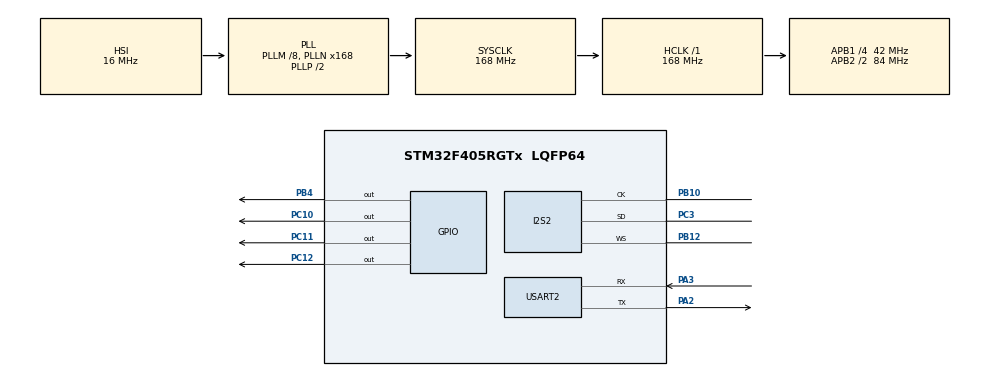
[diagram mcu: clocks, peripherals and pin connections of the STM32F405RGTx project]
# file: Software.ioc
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Dma.Request0=USART2_TX
Dma.Request1=SPI2_RX
Dma.SPI2_RX.1.Direction=DMA_PERIPH_TO_MEMORY
Dma.SPI2_RX.1.FIFOMode=DMA_FIFOMODE_DISABLE
Dma.SPI2_RX.1.Instance=DMA1_Stream3
Dma.SPI2_RX.1.MemDataAlignment=DMA_MDATAALIGN_HALFWORD
Dma.SPI2_RX.1.MemInc=DMA_MINC_ENABLE
Dma.SPI2_RX.1.Mode=DMA_NORMAL
Dma.SPI2_RX.1.PeriphDataAlignment=DMA_PDATAALIGN_HALFWORD
Dma.SPI2_RX.1.PeriphInc=DMA_PINC_DISABLE
Dma.SPI2_RX.1.Priority=DMA_PRIORITY_LOW
Dma.USART2_TX.0.Direction=DMA_MEMORY_TO_PERIPH
Dma.USART2_TX.0.FIFOMode=DMA_FIFOMODE_DISABLE
Dma.USART2_TX.0.Instance=DMA1_Stream6
Dma.USART2_TX.0.MemDataAlignment=DMA_MDATAALIGN_BYTE
Dma.USART2_TX.0.MemInc=DMA_MINC_ENABLE
Dma.USART2_TX.0.Mode=DMA_NORMAL
Dma.USART2_TX.0.PeriphDataAlignment=DMA_PDATAALIGN_BYTE
Dma.USART2_TX.0.PeriphInc=DMA_PINC_DISABLE
Dma.USART2_TX.0.Priority=DMA_PRIORITY_LOW
I2S2.AudioFreq=I2S_AUDIOFREQ_48K
I2S2.DataFormat=I2S_DATAFORMAT_16B_EXTENDED
I2S2.ErrorAudioFreq=-0.79 %
I2S2.FullDuplexMode=I2S_FULLDUPLEXMODE_DISABLE
I2S2.Instance=SPI$Index
I2S2.Mode=I2S_MODE_MASTER_RX
I2S2.RealAudioFreq=47.619 KHz
I2S2.VirtualMode=I2S_MODE_MASTER
Mcu.Family=STM32F4
Mcu.Name=STM32F405RGTx
Mcu.Package=LQFP64
NVIC.DMA1_Stream3_IRQn=true\:0\:0\:false\:false\:true\:false\:true\:true
NVIC.DMA1_Stream6_IRQn=true\:0\:0\:false\:false\:true\:false\:true\:true
NVIC.PriorityGroup=NVIC_PRIORITYGROUP_4
NVIC.USART2_IRQn=true\:0\:0\:false\:false\:true\:false\:true\:true
PA2.Mode=Asynchronous
PA2.Signal=USART2_TX
PA3.Mode=Asynchronous
PA3.Signal=USART2_RX
PB10.Mode=Half_Duplex_Master
PB10.Signal=I2S2_CK
PB12.Mode=Half_Duplex_Master
PB12.Signal=I2S2_WS
PB4.Signal=GPIO_Output
PC10.Signal=GPIO_Output
PC11.Signal=GPIO_Output
PC12.Signal=GPIO_Output
PC3.Mode=Half_Duplex_Master
PC3.Signal=I2S2_SD
ProjectManager.HeapSize=0x200
ProjectManager.StackSize=0x400
ProjectManager.TargetToolchain=Makefile
RCC.48MHZClocksFreq_Value=84000000
RCC.AHBFreq_Value=168000000
RCC.APB1CLKDivider=RCC_HCLK_DIV4
RCC.APB1Freq_Value=42000000
RCC.APB1TimFreq_Value=84000000
RCC.APB2CLKDivider=RCC_HCLK_DIV2
RCC.APB2Freq_Value=84000000
RCC.APB2TimFreq_Value=168000000
RCC.CortexFreq_Value=168000000
RCC.HCLKFreq_Value=168000000
RCC.HSE_VALUE=25000000
RCC.HSI_VALUE=16000000
RCC.LSE_VALUE=32768
RCC.PLLM=8
RCC.PLLN=168
RCC.SYSCLKFreq_VALUE=168000000
RCC.SYSCLKSource=RCC_SYSCLKSOURCE_PLLCLK
RCC.VCOOutputFreq_Value=336000000
STMicroelectronics.X-CUBE-ALGOBUILD.1.4.0.LibraryCcDSPOoLibraryJjDSPOoLibrary=true
USART2.VirtualMode=VM_ASYNC
VP_STMicroelectronics.X-CUBE-ALGOBUILD_VS_DSPOoLibraryJjLibrary_1.4.0_1.4.0.Mode=DSPOoLibraryJjLibrary
board=custom

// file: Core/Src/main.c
/* USER CODE BEGIN Header */
/**
  ******************************************************************************
  * @file           : main.c
  * @brief          : Main program body
  ******************************************************************************
  * @attention
  *
  * Copyright (c) 2025 STMicroelectronics.
  * All rights reserved.
  *
  * This software is licensed under terms that can be found in the LICENSE file
  * in the root directory of this software component.
  * If no LICENSE file comes with this software, it is provided AS-IS.
  *
  ******************************************************************************
  */
/* USER CODE END Header */
#include "main.h"
// #include "stm32f407xx.h"
#include "extitimer.h"

/* USER CODE BEGIN Includes */
#include "stdio.h"
#include "arm_math.h"
#include <errno.h>
#include <sys/unistd.h>
#include <string.h>
/* USER CODE END Includes */

/* USER CODE BEGIN PTD */
typedef struct {
  float32_t magnitude;
  uint16_t bin_index;
} FrequencyPeak;
/* USER CODE END PTD */

/* USER CODE BEGIN PD */
#define TAG_TOP_TEN_FREQ
//#define TAG_FFT_ALL
#define BATTERY_CONNECTED
#define MIC_CONNECTED
/* USER CODE END PD */

/* USER CODE BEGIN PM */
#define SAMPLES_TO_GET 5.0f
void nano_wait(int t); // FROM ECE362 LABS - might need to tweak
uint16_t charge_buffer;
state_t state;
char data_c[2];
char output_batt[20];
uint8_t sample_count = 0;
float32_t prev_sample = 0.0f;
float32_t sum_samps = 0.0f;
float32_t avrg_freq;
uint8_t ready_to_process = 0;
const float32_t standard_tuning[6] =
{
    82.41,  // E
    110,    // A
    146.83, // D
    196,    // G
    246.94, // B
    329.63  // E
};

const float32_t tuning_ranges[6] =
{
    20,
    20,
    25,
    25,
    40,
    40
};

float32_t freq_diff;

float32_t interpolated_freq;
float32_t interpolated_mag;

u8 tuning_i = 0;
float32_t frequency;
/* USER CODE END PM */

I2S_HandleTypeDef hi2s2;
DMA_HandleTypeDef hdma_spi2_rx;

UART_HandleTypeDef huart2;
DMA_HandleTypeDef hdma_usart2_tx;

/* USER CODE BEGIN PV */
// Generated by FIRfilterCoeff.py
static const float32_t h[] = {
  0.000000000000000000,
  0.000000007212970196,
  0.000000055131376202,
  0.000000171543973319,
  0.000000360266179641,
  0.000000594874965645,
  0.000000818935100534,
  0.000000953269382216,
  0.000000909594621891,
  0.000000608652866177,
  0.000000000000000000,
  -0.000000919966594950,
  -0.000002095239515927,
  -0.000003405721984287,
  -0.000004673080368682,
  -0.000005677570045858,
  -0.000006184832442803,
  -0.000005979993496011,
  -0.000004904940557073,
  -0.000002893643362343,
  0.000000000000000000,
  0.000003586954564869,
  0.000007544518199528,
  0.000011436700949649,
  0.000014753424308920,
  0.000016965877505996,
  0.000017592859001211,
  0.000016270823733091,
  0.000012818966330517,
  0.000007290250698265,
  0.000000000000000000,
  -0.000008474487081748,
  -0.000017326945232164,
  -0.000025587771714763,
  -0.000032218218776113,
  -0.000036225105432006,
  -0.000036784580473335,
  -0.000033361080813736,
  -0.000025806670682806,
  -0.000014426673819225,
  0.000000000000000000,
  0.000016253307473552,
  0.000032759348072180,
  0.000047728294350815,
  0.000059332463244602,
  0.000065908274776839,
  0.000066161433362343,
  0.000059352221390768,
  0.000045437779669613,
  0.000025150889032437,
  0.000000000000000000,
  -0.000027817282490325,
  -0.000055586016677138,
  -0.000080320078295768,
  -0.000099062317925644,
  -0.000109210464970957,
  -0.000108835063599250,
  -0.000096953558356075,
  -0.000073726294863681,
  -0.000040545803575662,
  0.000000000000000000,
  0.000044297862088247,
  0.000088005618738364,
  0.000126453688554378,
  0.000155117004147216,
  0.000170112150069698,
  0.000168667957176161,
  0.000149516417017767,
  0.000113155084000910,
  0.000061942104130263,
  0.000000000000000000,
  -0.000067076894279026,
  -0.000132695671015413,
  -0.000189882385686299,
  -0.000231989162332351,
  -0.000253422288578318,
  -0.000250315215958849,
  -0.000221070501681524,
  -0.000166703023080355,
  -0.000090932969583583,
  0.000000000000000002,
  0.000097802431277576,
  0.000192843853678290,
  0.000275067150224225,
  0.000335010294897236,
  0.000364839539779732,
  0.000359285831423614,
  0.000316378861817415,
  0.000237887184878823,
  0.000129397538541096,
  -0.000000000000000001,
  -0.000138415101386375,
  -0.000272201267600355,
  -0.000387254569662938,
  -0.000470448117348628,
  -0.000511061152705928,
  -0.000502052891807850,
  -0.000441037686168213,
  -0.000330840034755072,
  -0.000179544124270732,
  -0.000000000000000001,
  0.000191197111310521,
  0.000375181679884137,
  0.000532622270421465,
  0.000645688551479070,
  0.000699986632638702,
  0.000686259697749221,
  0.000601662834962097,
  0.000450453578221149,
  0.000243990800850278,
  -0.000000000000000001,
  -0.000258863304937024,
  -0.000507045571120453,
  -0.000718548030718960,
  -0.000869571730898905,
  -0.000941092889797799,
  -0.000921098533359573,
  -0.000806231821842976,
  -0.000602643025664755,
  -0.000325912472320292,
  0.000000000000000005,
  0.000344726630027055,
  0.000674233901600613,
  0.000954096882085209,
  0.001152999094859438,
  0.001246110935454701,
  0.001217992860294628,
  0.001064698903326004,
  0.000794820441674298,
  0.000429304787869723,
  -0.000000000000000002,
  -0.000452994581337506,
  -0.000884965733328157,
  -0.001250892939594858,
  -0.001510019745070193,
  -0.001630236735517778,
  -0.001591818175668851,
  -0.001390096195848735,
  -0.001036743084526973,
  -0.000559457156823075,
  0.000000000000000002,
  0.000589301542319519,
  0.001150312757800108,
  0.001624689213087111,
  0.001959789720876354,
  0.002114318999981656,
  0.002063112326118575,
  0.001800531613135314,
  0.001342056394597545,
  0.000723815326136190,
  -0.000000000000000002,
  -0.000761685197981068,
  -0.001486176499962443,
  -0.002098266020155372,
  -0.002530202581153647,
  -0.002728928710850529,
  -0.002662203518427453,
  -0.002322936080422007,
  -0.001731200837943418,
  -0.000933613992632222,
  0.000000000000000003,
  0.000982453153805861,
  0.001917088352576017,
  0.002707032545101008,
  0.003264946690258434,
  0.003522317420895075,
  0.003437333674165345,
  0.003000485639801629,
  0.002237208486919608,
  0.001207155299613224,
  -0.000000000000000003,
  -0.001271987190106345,
  -0.002484014837181999,
  -0.003510625699427079,
  -0.004238241037973694,
  -0.004577178800465129,
  -0.004471921470477553,
  -0.003908521035305639,
  -0.002918255751523590,
  -0.001576979286270625,
  0.000000000000000003,
  0.001667239028090979,
  0.003261980916958090,
  0.004619398068116593,
  0.005588884876617332,
  0.006049853241498540,
  0.005925451898612821,
  0.005192750476131914,
  0.003888196699748424,
  0.002107551518475262,
  -0.000000000000000003,
  -0.002243317149682280,
  -0.004405555526599354,
  -0.006263903857625761,
  -0.007611103046085754,
  -0.008276782191560651,
  -0.008146556730446801,
  -0.007176933645328500,
  -0.005404357235659036,
  -0.002947187833007922,
  0.000000000000000004,
  0.003179732946637637,
  0.006291793906866203,
  0.009018771864230179,
  0.011054991640217888,
  0.012136394457447883,
  0.012068726678476440,
  0.010751408594882765,
  0.008194705559681586,
  0.004528296880536618,
  -0.000000000000000004,
  -0.005035793231986729,
  -0.010139540705696639,
  -0.014816539248567458,
  -0.018553394632726941,
  -0.020858249767653356,
  -0.021301620769129285,
  -0.019554516962313487,
  -0.015420623526151691,
  -0.008859703100028354,
  0.000000000000000004,
  0.010861739710608147,
  0.023273053069527715,
  0.036650747278610257,
  0.050316490520345286,
  0.063540524245060986,
  0.075590318641641716,
  0.085780545680485903,
  0.093520585884290894,
  0.098355932108839944,
  0.100000296625720797,
  0.098355932108839944,
  0.093520585884290894,
  0.085780545680485903,
  0.075590318641641716,
  0.063540524245060986,
  0.050316490520345286,
  0.036650747278610257,
  0.023273053069527715,
  0.010861739710608147,
  0.000000000000000004,
  -0.008859703100028354,
  -0.015420623526151695,
  -0.019554516962313490,
  -0.021301620769129288,
  -0.020858249767653360,
  -0.018553394632726941,
  -0.014816539248567458,
  -0.010139540705696639,
  -0.005035793231986729,
  -0.000000000000000004,
  0.004528296880536617,
  0.008194705559681586,
  0.010751408594882765,
  0.012068726678476440,
  0.012136394457447883,
  0.011054991640217889,
  0.009018771864230181,
  0.006291793906866203,
  0.003179732946637638,
  0.000000000000000004,
  -0.002947187833007923,
  -0.005404357235659036,
  -0.007176933645328501,
  -0.008146556730446803,
  -0.008276782191560651,
  -0.007611103046085756,
  -0.006263903857625761,
  -0.004405555526599355,
  -0.002243317149682280,
  -0.000000000000000003,
  0.002107551518475262,
  0.003888196699748423,
  0.005192750476131913,
  0.005925451898612821,
  0.006049853241498540,
  0.005588884876617333,
  0.004619398068116595,
  0.003261980916958091,
  0.001667239028090979,
  0.000000000000000003,
  -0.001576979286270625,
  -0.002918255751523591,
  -0.003908521035305638,
  -0.004471921470477553,
  -0.004577178800465129,
  -0.004238241037973695,
  -0.003510625699427079,
  -0.002484014837181999,
  -0.001271987190106345,
  -0.000000000000000003,
  0.001207155299613225,
  0.002237208486919609,
  0.003000485639801630,
  0.003437333674165345,
  0.003522317420895077,
  0.003264946690258435,
  0.002707032545101009,
  0.001917088352576017,
  0.000982453153805861,
  0.000000000000000003,
  -0.000933613992632222,
  -0.001731200837943419,
  -0.002322936080422007,
  -0.002662203518427453,
  -0.002728928710850530,
  -0.002530202581153646,
  -0.002098266020155372,
  -0.001486176499962443,
  -0.000761685197981068,
  -0.000000000000000002,
  0.000723815326136190,
  0.001342056394597546,
  0.001800531613135315,
  0.002063112326118576,
  0.002114318999981655,
  0.001959789720876355,
  0.001624689213087111,
  0.001150312757800108,
  0.000589301542319519,
  0.000000000000000002,
  -0.000559457156823076,
  -0.001036743084526974,
  -0.001390096195848735,
  -0.001591818175668851,
  -0.001630236735517778,
  -0.001510019745070193,
  -0.001250892939594858,
  -0.000884965733328158,
  -0.000452994581337506,
  -0.000000000000000002,
  0.000429304787869723,
  0.000794820441674298,
  0.001064698903326005,
  0.001217992860294628,
  0.001246110935454702,
  0.001152999094859438,
  0.000954096882085209,
  0.000674233901600614,
  0.000344726630027055,
  0.000000000000000005,
  -0.000325912472320292,
  -0.000602643025664756,
  -0.000806231821842975,
  -0.000921098533359573,
  -0.000941092889797799,
  -0.000869571730898905,
  -0.000718548030718960,
  -0.000507045571120453,
  -0.000258863304937024,
  -0.000000000000000001,
  0.000243990800850278,
  0.000450453578221150,
  0.000601662834962097,
  0.000686259697749221,
  0.000699986632638703,
  0.000645688551479069,
  0.000532622270421465,
  0.000375181679884137,
  0.000191197111310521,
  -0.000000000000000001,
  -0.000179544124270732,
  -0.000330840034755072,
  -0.000441037686168212,
  -0.000502052891807850,
  -0.000511061152705928,
  -0.000470448117348628,
  -0.000387254569662938,
  -0.000272201267600355,
  -0.000138415101386375,
  -0.000000000000000001,
  0.000129397538541096,
  0.000237887184878823,
  0.000316378861817415,
  0.000359285831423614,
  0.000364839539779732,
  0.000335010294897236,
  0.000275067150224226,
  0.000192843853678290,
  0.000097802431277576,
  0.000000000000000002,
  -0.000090932969583583,
  -0.000166703023080356,
  -0.000221070501681525,
  -0.000250315215958849,
  -0.000253422288578318,
  -0.000231989162332351,
  -0.000189882385686299,
  -0.000132695671015413,
  -0.000067076894279026,
  0.000000000000000000,
  0.000061942104130263,
  0.000113155084000910,
  0.000149516417017767,
  0.000168667957176162,
  0.000170112150069698,
  0.000155117004147216,
  0.000126453688554378,
  0.000088005618738364,
  0.000044297862088247,
  0.000000000000000000,
  -0.000040545803575662,
  -0.000073726294863681,
  -0.000096953558356075,
  -0.000108835063599250,
  -0.000109210464970957,
  -0.000099062317925644,
  -0.000080320078295768,
  -0.000055586016677139,
  -0.000027817282490325,
  0.000000000000000000,
  0.000025150889032437,
  0.000045437779669613,
  0.000059352221390768,
  0.000066161433362343,
  0.000065908274776839,
  0.000059332463244602,
  0.000047728294350815,
  0.000032759348072180,
  0.000016253307473552,
  0.000000000000000000,
  -0.000014426673819225,
  -0.000025806670682806,
  -0.000033361080813736,
  -0.000036784580473335,
  -0.000036225105432006,
  -0.000032218218776113,
  -0.000025587771714763,
  -0.000017326945232164,
  -0.000008474487081748,
  0.000000000000000000,
  0.000007290250698265,
  0.000012818966330517,
  0.000016270823733091,
  0.000017592859001211,
  0.000016965877505996,
  0.000014753424308920,
  0.000011436700949649,
  0.000007544518199528,
  0.000003586954564869,
  0.000000000000000000,
  -0.000002893643362343,
  -0.000004904940557073,
  -0.000005979993496011,
  -0.000006184832442803,
  -0.000005677570045859,
  -0.000004673080368682,
  -0.000003405721984287,
  -0.000002095239515927,
  -0.000000919966594950,
  0.000000000000000000,
  0.000000608652866177,
  0.000000909594621891,
  0.000000953269382216,
  0.000000818935100534,
  0.000000594874965645,
  0.000000360266179641,
  0.000000171543973319,
  0.000000055131376202,
  0.000000007212970196,
  0.000000000000000000,
};

#define I2S_BUFFER_SIZE 1024 * 4 * 2
int16_t  data_i2s[I2S_BUFFER_SIZE];
float32_t mic1_data1[I2S_BUFFER_SIZE / 4], mic1_data2[I2S_BUFFER_SIZE / 4];
volatile int16_t sample_i2s;
volatile uint8_t button_flag, start_stop_recording;
volatile uint8_t  half_i2s, full_i2s;
arm_rfft_fast_instance_f32 fft_audio_instance;

#define FILTER_TAP_NUM 461

arm_fir_instance_f32 fir_instance;
float32_t fir_state[I2S_BUFFER_SIZE / 4 + FILTER_TAP_NUM - 1];

#define UART_TX_BUFFER_SIZE 512
static uint32_t uart_tx_buffer[512];
static volatile uint8_t uart_tx_busy = 0;

/* USER CODE END PV */

void SystemClock_Config(void);
static void MX_GPIO_Init(void);
static void MX_DMA_Init(void);
static void MX_I2S2_Init(void);
static void MX_USART2_UART_Init(void);

/* USER CODE BEGIN 0 */
void HAL_UART_TxCpltCallback(UART_HandleTypeDef *huart)
{
    if (huart->Instance == USART2) {
        uart_tx_busy = 0;
    }
}
int compare_peaks(const void* a, const void* b) {
  FrequencyPeak* peak_a = (FrequencyPeak*)a;
  FrequencyPeak* peak_b = (FrequencyPeak*)b;
  if (peak_a->magnitude > peak_b->magnitude) return -1;
  if (peak_a->magnitude < peak_b->magnitude) return 1;
  return 0;
}

void send_top_frequencies(float32_t* fft_data, uint16_t fft_size, uint32_t sample_rate) {
  uint16_t useful_bins = fft_size / 2;
  FrequencyPeak max_peak = {0};
  float32_t max_magnitude = 0;
  uint16_t max_bin = 0;

  float32_t freq_resolution = (float32_t)sample_rate / fft_size;
  for (uint16_t i = 1; i < useful_bins - 1; i++) {
      float32_t frequency = i * freq_resolution;
      if ((frequency > 30.0f) && (frequency < 700.0f)) {
          if (fft_data[i] > fft_data[i-1] && fft_data[i] > fft_data[i+1]) {
              if (fft_data[i] > max_magnitude) {
                  max_magnitude = fft_data[i];
                  max_bin = i;
              }
          }
      }
  }

  // quadratic interpolation - used to better esetimate the frequency from the bins (thank you internet)
  if (max_bin > 0) {
      float32_t alpha = fft_data[max_bin - 1];
      float32_t beta = fft_data[max_bin];
      float32_t gamma = fft_data[max_bin + 1];
      float32_t p = 0.5f * (alpha - gamma) / (alpha - 2*beta + gamma);
      interpolated_freq = (max_bin + p) * freq_resolution;
      interpolated_mag = beta - 0.25f * (alpha - gamma) * p;

      char buffer[100];
      int freq_int = (int)interpolated_freq;
      int freq_dec = (int)((interpolated_freq - freq_int) * 100);
      int mag_int = (int)interpolated_mag;
      int mag_dec = (int)((interpolated_mag - mag_int) * 100);

      strcpy(buffer, "");
      strcat(buffer, "Freq: ");
      char freq_str[20];
      sprintf(freq_str, "%3d.%02d Hz, ", freq_int, freq_dec);
      strcat(buffer, freq_str);
      strcat(buffer, "Mag: ");
      char mag_str[20];
      sprintf(mag_str, "%3d.%02d\r\n", mag_int, mag_dec);
      strcat(buffer, mag_str);
      send_uart(buffer, strlen(buffer));

  }

  char *footer = "\r\n";
  send_uart(footer, strlen(footer));
}

void TIM3_IRQHandler(void)
{
  TIM3 -> SR &= ~TIM_SR_UIF;
  if((GPIOC->IDR & (1 << 1)) == 0) // held, active low buttons
  {
    if(state == FREE_SPIN)
    {
      OLED_DrawString(0, 30, WHITE, BLACK, "*", 12);
      drive_motor(30, direct);
    }
    else // STANDARD TUNING STATE
    {
      OLED_DrawString(90, 30, WHITE, BLACK, "*", 12);
      // char buffer[100];
      // int freq_int = (int)interpolated_freq;
      // int freq_dec = (int)((interpolated_freq - freq_int) * 100);
      // int mag_int = (int)interpolated_mag;
      // int mag_dec = (int)((interpolated_mag - mag_int) * 100);

      // strcpy(buffer, "");
      // strcat(buffer, "Freq_tim: ");
      // char freq_str[20];
      // sprintf(freq_str, "%3d.%02d Hz, ", freq_int, freq_dec);
      // strcat(buffer, freq_str);
      // strcat(buffer, "Mag_tim: ");
      // char mag_str[20];
      // sprintf(mag_str, "%3d.%02d\r\n", mag_int, mag_dec);
      // strcat(buffer, mag_str);
      // send_uart(buffer, strlen(buffer));
      #ifdef MIC_CONNECTED
      // int int_fact = (int)(interpolated_freq / standard_tuning[state]);
      // float32_t harmonic_factor = (float32_t) int_fact;
      // // i2s_dma_enable(); // allow mic to read
      // // if curr_freq is OVER, - value, if UNDER, + value
      // freq_diff = (harmonic_factor*standard_tuning[state]) - interpolated_freq;
      // Logic for standard tuning states here!
      float32_t current_goal = standard_tuning[state];
      float32_t harmonic_factor = (interpolated_freq / (standard_tuning[state]));
      int rounded_factor = (int)(harmonic_factor + 0.5f);
      // float32_t current_goal = standard_tuning[state];

      if((interpolated_freq >= ((rounded_factor*standard_tuning[state]) - tuning_ranges[state])) && (interpolated_freq <= ((rounded_factor*standard_tuning[state]) + tuning_ranges[state]))) // if it's close to current goal, assume pluck
      {
        if((prev_sample >= interpolated_freq - 5) && (prev_sample <= interpolated_freq + 5)) // if sample is close enough to last, pluck should produce at least 3
        {
          sum_samps += prev_sample;
          sample_count++;
        }
        else // NO MATCH
        {
          sample_count = 0;
          sum_samps = 0;
        }
        if(sample_count > (int)SAMPLES_TO_GET) // if we've gather 3 samples by the conditions above...
        {
          // avrg_freq = sum_samps / SAMPLES_TO_GET; // average the pluck
          avrg_freq = (prev_sample + interpolated_freq) / 2;
          sum_samps = 0;
          ready_to_process = 1;
        }
      }

      if(ready_to_process) // if we got three samples close enough to goal/its harmonics...
      {
        // if(avrg_freq <= 500.0f && avrg_freq >= 30.0f) // add base range
        // {
        // if curr_freq is OVER, - value, if UNDER, + value
        freq_diff = avrg_freq - (rounded_factor*standard_tuning[state]);
        if(abs(freq_diff) <= 2)
        {
          OLED_DrawString(84, 60, B_Color, BLACK, "SUCCESS", 12);
          OLED_DrawString(90, 72, B_Color, BLACK, "<  >", 12);
          TIM3 -> CR1 &= ~TIM_CR1_CEN; // MIGHT NEED TO REMOVE THIS
        }
        else
        {
          if(abs(freq_diff) >= 10) // big spin
          {
              if(freq_diff > 0) // positive
              {
                  drive_motor(20, 0);
              }
              else // negative
              {
                  drive_motor(20, 1);
              }
          }
          else if(abs(freq_diff) >= 7)
          {
              if(freq_diff > 0) // positive
              {
                  drive_motor(10, 0);
              }
              else // negative
              {
                  drive_motor(10, 1);
              }
          }
          else if(abs(freq_diff) >= 2)
          {
              if(freq_diff > 0) // positive
              {
                  drive_motor(5, 0);
              }
              else // negative
              {
                  drive_motor(5, 1);
              }
          }
          // else
          // {
          //     if(freq_diff > 0) // positive
          //     {
          //         drive_motor(2, 0);
          //     }
          //     else // negative
          //     {
          //         drive_motor(2, 1);
          //     }
          // }
        }
        // }
        ready_to_process = 0; // clear to gather new pluck
      }
      #endif
      }
    prev_sample = interpolated_freq; // for gathering 3 samples aka a "pluck"
  }
  else
  {
      TIM3 -> CR1 &= ~TIM_CR1_CEN; // disable timer
      if (state == FREE_SPIN) OLED_DrawString(0, 30, WHITE, BLACK, "  ", 12);
      else OLED_DrawString(90, 30, WHITE, BLACK, "  ", 12);
      // i2s_dma_disable(); // stop mic from reading to memory
      sample_count = 0;
      ready_to_process = 0;
  }
}

void TIM2_IRQHandler(void)
{
    TIM2 -> SR &= ~TIM_SR_UIF;
    char buf_freq[20];
    sprintf(buf_freq, "%d", (int)interpolated_freq);
    OLED_DrawString(80, 20, WHITE, BLACK, "   ", 16);
    OLED_DrawString(80, 20, WHITE, BLACK, buf_freq, 16);
}

// int _write(int file, char *ptr, int len)
// {
//     if (file != STDOUT_FILENO && file != STDERR_FILENO) {
//         errno = EBADF;
//         return -1;
//     }

//     HAL_UART_Transmit(&huart2, (uint8_t*)ptr, len, 100);
//     return len;
// }

void send_uart(char *ptr, int len)
{
  HAL_UART_Transmit(&huart2, (uint8_t*)ptr, len, 100);
}

// void send_fft_data(float32_t* fft_data, size_t data_size)
// {
//     while (uart_tx_busy) {
//         // Wait for previous transfer to complete
//     }

//     // Copy data directly as it's already 32-bit aligned
//     memcpy(uart_tx_buffer, fft_data, data_size * 4);

//     // Ensure the end marker is properly set
//     uart_tx_buffer[data_size-1] = ('>'<<24|'>'<<16|'>'<<8|'>');

//     uart_tx_busy = 1;
//     HAL_UART_Transmit_DMA(&huart2, (uint8_t*)uart_tx_buffer, data_size * 4);
// }

/* USER CODE END 0 */

int main(void)
{

  /* USER CODE BEGIN 1 */
  uint8_t uart_counter = 0;
  /* USER CODE END 1 */

  /* MCU Configuration--------------------------------------------------------*/

  /* Reset of all peripherals, Initializes the Flash interface and the Systick. */
  HAL_Init();

  /* USER CODE BEGIN Init */
  init_spi1_oled();
  init_exti();
  init_i2c_BQ27441();
  init_DRV();

  OLED_Setup();
  OLED_Clear(BLACK);

  init_tim2();
  init_tim3();
  init_tim4();
  // Check battery charge and prevent boot if too low:
  #ifdef BATTERY_CONNECTED
  i2c_send_address(BQ27441_COMMAND_SOC); // get percent charge
  i2c_read_address(2, data_c);
  charge_buffer = (data_c[1] << 8) | data_c[0];
  #else
  charge_buffer = 10; // hardcode for testing
  #endif
  if(charge_buffer <= 3) // if percent charge is less than 3
  {
      OLED_DrawString(32, 50, C_Color, BLACK, "LOW BATT", 16);
      OLED_DrawString(34, 66, WHITE, BLACK, "Power off", 12);
      OLED_DrawString(34, 78, WHITE, BLACK, "and charge", 12);
      // while(1); // hold here until power off
  }
  else
  {
      state = MAIN_MENU;
      OLED_WriteMenu();
  }
  /* USER CODE END Init */

  /* Configure the system clock */
  SystemClock_Config();

  /* Initialize all configured peripherals */
  MX_GPIO_Init();
  MX_DMA_Init();
  MX_I2S2_Init();
  MX_USART2_UART_Init();
  /* USER CODE BEGIN 2 */
  HAL_I2S_DMAStop(&hi2s2);
  HAL_Delay(500);
  arm_rfft_fast_init_f32(&fft_audio_instance, I2S_BUFFER_SIZE / 4);
  arm_fir_init_f32(&fir_instance, FILTER_TAP_NUM, (float32_t *)h, fir_state, I2S_BUFFER_SIZE / 4);

  char *msg = "Hello World!\r\n";
  send_uart(msg, strlen(msg));

  start_stop_recording = 1;

  msg = "start_recording\r\n";
  send_uart(msg, strlen(msg));
  HAL_GPIO_WritePin(GPIOC, GPIO_PIN_12, GPIO_PIN_SET); // Turn on the LED
  HAL_GPIO_WritePin(GPIOB, GPIO_PIN_4, GPIO_PIN_SET); // Turn on the LED
  HAL_Delay(1000);
  HAL_GPIO_WritePin(GPIOC, GPIO_PIN_12, GPIO_PIN_RESET); // Turn off the LED
  HAL_GPIO_WritePin(GPIOB, GPIO_PIN_4, GPIO_PIN_RESET); // Turn off the LED
  HAL_I2S_Receive_DMA(&hi2s2, (uint16_t *)data_i2s, sizeof(data_i2s)/2);
  HAL_Delay(1000);
  full_i2s = 0;
  half_i2s = 0;
  /* USER CODE END 2 */

  /* Infinite loop */
  /* USER CODE BEGIN WHILE */
  while (1)
  {
	  HAL_GPIO_TogglePin(GPIOB, GPIO_PIN_4);  // Toggle PB4
	  // HAL_Delay(10);
        // Delay for 500ms (0.5 seconds)
    // Add LED flashing during recording
    static uint32_t led_timestamp = 0;
    if(start_stop_recording)
    {
        if(HAL_GetTick() - led_timestamp > 500) // Flash every 500ms
        {
            HAL_GPIO_TogglePin(GPIOC, GPIO_PIN_12); // Toggle the LED pin
            led_timestamp = HAL_GetTick();
        }
    }

    /* USER CODE END WHILE */
  }

}
void SystemClock_Config(void)
{
  RCC_OscInitTypeDef RCC_OscInitStruct = {0};
  RCC_ClkInitTypeDef RCC_ClkInitStruct = {0};

  /** Configure the main internal regulator output voltage
  */
  __HAL_RCC_PWR_CLK_ENABLE();
  __HAL_PWR_VOLTAGESCALING_CONFIG(PWR_REGULATOR_VOLTAGE_SCALE1);

  /** Initializes the RCC Oscillators according to the specified parameters
  * in the RCC_OscInitTypeDef structure.
  */
  RCC_OscInitStruct.OscillatorType = RCC_OSCILLATORTYPE_HSI;
  RCC_OscInitStruct.HSIState = RCC_HSI_ON;
  RCC_OscInitStruct.HSICalibrationValue = RCC_HSICALIBRATION_DEFAULT;
  RCC_OscInitStruct.PLL.PLLState = RCC_PLL_ON;
  RCC_OscInitStruct.PLL.PLLSource = RCC_PLLSOURCE_HSI;
  RCC_OscInitStruct.PLL.PLLM = 8;
  RCC_OscInitStruct.PLL.PLLN = 168;
  RCC_OscInitStruct.PLL.PLLP = RCC_PLLP_DIV2;
  RCC_OscInitStruct.PLL.PLLQ = 4;
  if (HAL_RCC_OscConfig(&RCC_OscInitStruct) != HAL_OK)
  {
    Error_Handler();
  }

  /** Initializes the CPU, AHB and APB buses clocks
  */
  RCC_ClkInitStruct.ClockType = RCC_CLOCKTYPE_HCLK|RCC_CLOCKTYPE_SYSCLK
                              |RCC_CLOCKTYPE_PCLK1|RCC_CLOCKTYPE_PCLK2;
  RCC_ClkInitStruct.SYSCLKSource = RCC_SYSCLKSOURCE_PLLCLK;
  RCC_ClkInitStruct.AHBCLKDivider = RCC_SYSCLK_DIV1;
  RCC_ClkInitStruct.APB1CLKDivider = RCC_HCLK_DIV4;
  RCC_ClkInitStruct.APB2CLKDivider = RCC_HCLK_DIV2;

  if (HAL_RCC_ClockConfig(&RCC_ClkInitStruct, FLASH_LATENCY_5) != HAL_OK)
  {
    Error_Handler();
  }
}

static void MX_I2S2_Init(void)
{

  hi2s2.Instance = SPI2;
  hi2s2.Init.Mode = I2S_MODE_MASTER_RX;
  hi2s2.Init.Standard = I2S_STANDARD_PHILIPS;
  hi2s2.Init.DataFormat = I2S_DATAFORMAT_16B_EXTENDED;
  hi2s2.Init.MCLKOutput = I2S_MCLKOUTPUT_DISABLE;
  hi2s2.Init.AudioFreq = I2S_AUDIOFREQ_16K;
  hi2s2.Init.CPOL = I2S_CPOL_LOW;
  hi2s2.Init.ClockSource = I2S_CLOCK_PLL;
  hi2s2.Init.FullDuplexMode = I2S_FULLDUPLEXMODE_DISABLE;
  if (HAL_I2S_Init(&hi2s2) != HAL_OK)
  {
    Error_Handler();
  }

}

static void MX_USART2_UART_Init(void)
{

  huart2.Instance = USART2;
  huart2.Init.BaudRate = 115200;
  huart2.Init.WordLength = UART_WORDLENGTH_8B;
  huart2.Init.StopBits = UART_STOPBITS_1;
  huart2.Init.Parity = UART_PARITY_NONE;
  huart2.Init.Mode = UART_MODE_TX_RX;
  huart2.Init.HwFlowCtl = UART_HWCONTROL_NONE;
  huart2.Init.OverSampling = UART_OVERSAMPLING_16;
  if (HAL_UART_Init(&huart2) != HAL_OK)
  {
    Error_Handler();
  }

}

static void MX_DMA_Init(void)
{

  /* DMA controller clock enable */
  __HAL_RCC_DMA1_CLK_ENABLE();

  /* DMA interrupt init */
  /* DMA1_Stream3_IRQn interrupt configuration */
  HAL_NVIC_SetPriority(DMA1_Stream3_IRQn, 1, 0);
  HAL_NVIC_EnableIRQ(DMA1_Stream3_IRQn);
  /* DMA1_Stream6_IRQn interrupt configuration */
  HAL_NVIC_SetPriority(DMA1_Stream6_IRQn, 1, 0);
  HAL_NVIC_EnableIRQ(DMA1_Stream6_IRQn);

}

static void MX_GPIO_Init(void)
{
  GPIO_InitTypeDef GPIO_InitStruct = {0};

  /* GPIO Ports Clock Enable */
  __HAL_RCC_GPIOC_CLK_ENABLE();
  __HAL_RCC_GPIOA_CLK_ENABLE();
  __HAL_RCC_GPIOB_CLK_ENABLE();

  /*Configure GPIO pin Output Level */
  HAL_GPIO_WritePin(GPIOC, GPIO_PIN_10|GPIO_PIN_11|GPIO_PIN_12, GPIO_PIN_RESET);

  /*Configure GPIO pin Output Level */
  HAL_GPIO_WritePin(GPIOB, GPIO_PIN_4, GPIO_PIN_RESET);

  /*Configure GPIO pins : PC10 PC11 PC12 */
  GPIO_InitStruct.Pin = GPIO_PIN_10|GPIO_PIN_11|GPIO_PIN_12;
  GPIO_InitStruct.Mode = GPIO_MODE_OUTPUT_PP;
  GPIO_InitStruct.Pull = GPIO_NOPULL;
  GPIO_InitStruct.Speed = GPIO_SPEED_FREQ_LOW;
  HAL_GPIO_Init(GPIOC, &GPIO_InitStruct);

  /*Configure GPIO pin : PB4 */
  GPIO_InitStruct.Pin = GPIO_PIN_4;
  GPIO_InitStruct.Mode = GPIO_MODE_OUTPUT_PP;
  GPIO_InitStruct.Pull = GPIO_NOPULL;
  GPIO_InitStruct.Speed = GPIO_SPEED_FREQ_LOW;
  HAL_GPIO_Init(GPIOB, &GPIO_InitStruct);

}

/* USER CODE BEGIN 4 */
int _write(int file, char *ptr, int len)
{
	int DataIdx;

	for (DataIdx = 0; DataIdx < len; DataIdx++)
	{
		ITM_SendChar(*ptr++);
	}
	return len;
}
//	l,r,l,r,l,

// RxHalfCpltCallback modification
void HAL_I2S_RxHalfCpltCallback(I2S_HandleTypeDef *hi2s)
{
  static float32_t data_out_fft1[I2S_BUFFER_SIZE / 4];
  static float32_t filtered_data[I2S_BUFFER_SIZE / 4];

    HAL_GPIO_TogglePin(GPIOC, GPIO_PIN_11);
    half_i2s = 1;

    // Process the data
    for(int i = 0; i < I2S_BUFFER_SIZE / 4; i++ )
    {
        mic1_data1[i] = (float32_t)data_i2s[i * 2];
    }

    // Apply FIR filter
    arm_fir_f32(&fir_instance, mic1_data1, filtered_data, I2S_BUFFER_SIZE / 4);

    // Apply FFT to filtered data
    arm_rfft_fast_f32(&fft_audio_instance, filtered_data, data_out_fft1, 0);
    arm_cmplx_mag_f32(data_out_fft1, data_out_fft1, I2S_BUFFER_SIZE / 8);
    data_out_fft1[0] = 0;  // bias removal

    // Send data based on defined tags
#ifdef TAG_TOP_TEN_FREQ
    send_top_frequencies(data_out_fft1, I2S_BUFFER_SIZE / 4, 16000);
#endif

#ifdef TAG_FFT_ALL
    uint8_t start_marker = 0xAA;
    HAL_UART_Transmit(&huart2, &start_marker, 1, 10);
    HAL_UART_Transmit(&huart2, (uint8_t *)data_out_fft1, I2S_BUFFER_SIZE / 8 * sizeof(float32_t), 100);
    uint8_t end_marker = 0x55;
    HAL_UART_Transmit(&huart2, &end_marker, 1, 10);
#endif
}

// RxCpltCallback modification
void HAL_I2S_RxCpltCallback(I2S_HandleTypeDef *hi2s)
{
  static float32_t data_out_fft2[I2S_BUFFER_SIZE / 4];
  static float32_t filtered_data[I2S_BUFFER_SIZE / 4];
    HAL_GPIO_TogglePin(GPIOC, GPIO_PIN_12);
    full_i2s = 1;

    for(int i = 0; i < I2S_BUFFER_SIZE / 4; i++ )
    {
        mic1_data2[i] = (float32_t)data_i2s[i * 2 + I2S_BUFFER_SIZE / 2];
    }

    arm_fir_f32(&fir_instance, mic1_data2, filtered_data, I2S_BUFFER_SIZE / 4);

    arm_rfft_fast_f32(&fft_audio_instance, filtered_data, data_out_fft2, 0);
    arm_cmplx_mag_f32(data_out_fft2, data_out_fft2, I2S_BUFFER_SIZE / 8);
    data_out_fft2[0] = 0;  // bias removal

    // Send data based on defined tags
#ifdef TAG_TOP_TEN_FREQ
    send_top_frequencies(data_out_fft2, I2S_BUFFER_SIZE / 4, 16000);
#endif

#ifdef TAG_FFT_ALL
    uint8_t start_marker = 0xAA;
    HAL_UART_Transmit(&huart2, &start_marker, 1, 10);
    HAL_UART_Transmit(&huart2, (uint8_t *)data_out_fft2, I2S_BUFFER_SIZE / 8 * sizeof(float32_t), 100);
    uint8_t end_marker = 0x55;
    HAL_UART_Transmit(&huart2, &end_marker, 1, 10);
#endif

    // Restart DMA
    HAL_I2S_Receive_DMA(&hi2s2, (uint16_t *)data_i2s, sizeof(data_i2s)/2);
}

/* USER CODE END 4 */

void Error_Handler(void)
{
  __disable_irq();
  while (1)
  {
  }
}
